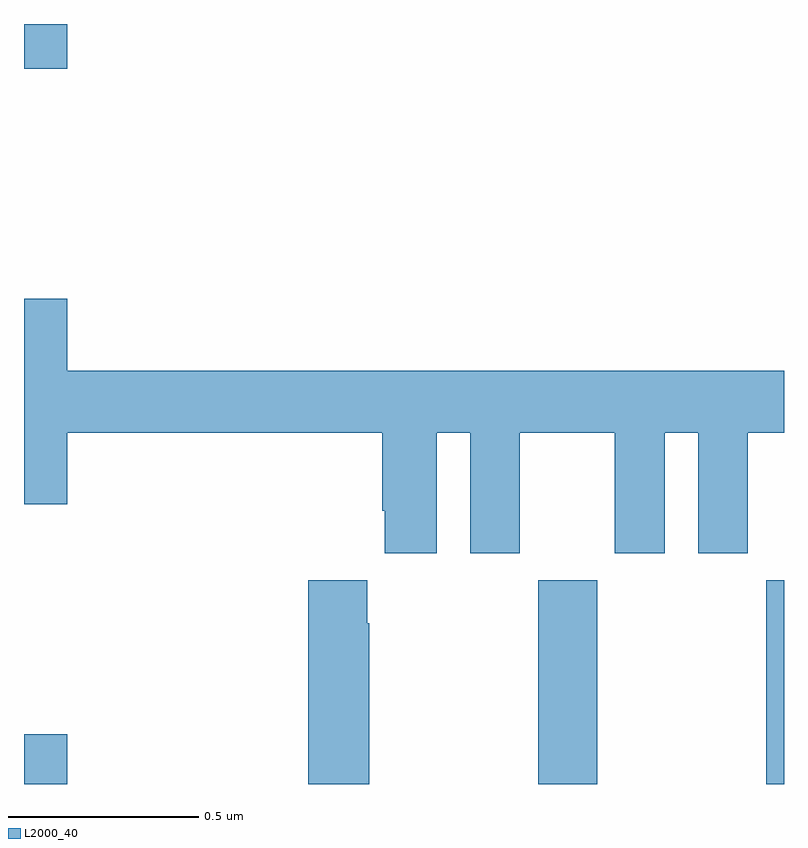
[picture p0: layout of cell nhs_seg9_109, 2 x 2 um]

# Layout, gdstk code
import gdstk
lib = gdstk.Library(unit=1e-6, precision=1e-09)
def R(c, l, rs):  # rectangles x0, y0, x1, y1
    for r in rs: c.add(gdstk.rectangle(r[:2], r[2:], *l))
def P(c, l, *ps):  # polygons
    for p in ps: c.add(gdstk.Polygon(p, *l))
L2000_40 = (2000, 40)

nhs_seg9_109 = lib.new_cell('nhs_seg9_109')
R(nhs_seg9_109, L2000_40, [(112,1191.5,112.114,1191.631), (113.353,1191.5,113.508,1192.036), (113.953,1191.5,114,1192.036), (112,1193.382,112.114,1193.5)])
P(nhs_seg9_109, L2000_40, [(113.086,1192.424),(113.174,1192.424),(113.174,1192.107),(113.305,1192.107),(113.305,1192.424),(113.555,1192.424),(113.555,1192.107),(113.686,1192.107),(113.686,1192.424),(113.774,1192.424),(113.774,1192.107),(113.905,1192.107),(113.905,1192.424),(114,1192.424),(114,1192.588),(112.114,1192.588),(112.114,1192.777),(112,1192.777),(112,1192.236),(112.114,1192.236),(112.114,1192.424),(112.943,1192.424),(112.943,1192.219),(112.949,1192.219),(112.949,1192.107),(113.086,1192.107)],
  [(112.908,1191.923),(112.903,1191.923),(112.903,1192.036),(112.748,1192.036),(112.748,1191.5),(112.908,1191.5)])

lib.write_gds('nhs_seg9_109.gds')
